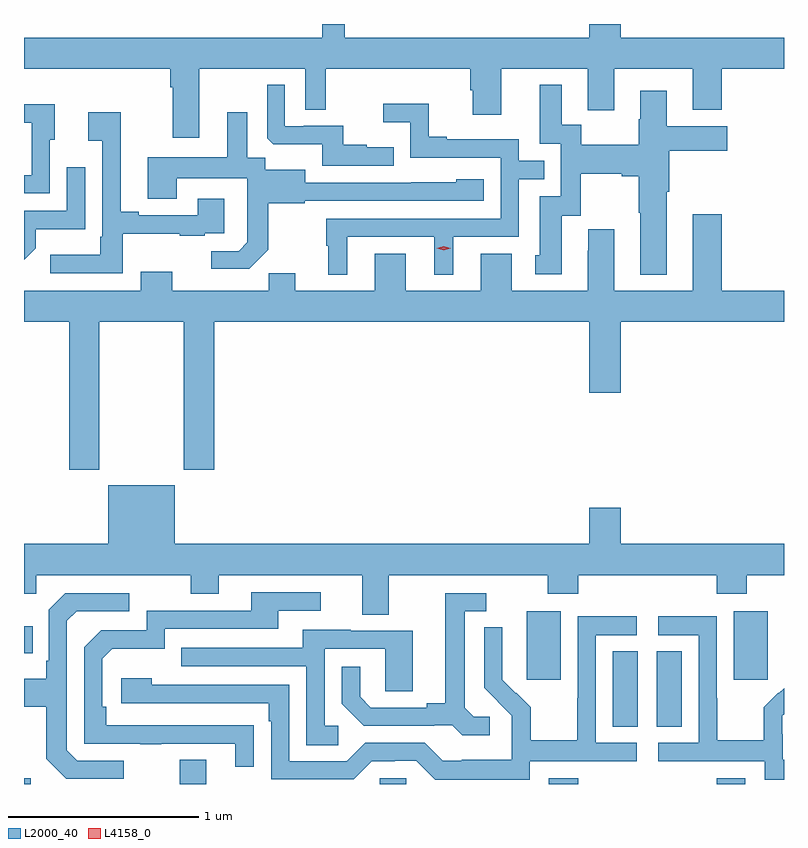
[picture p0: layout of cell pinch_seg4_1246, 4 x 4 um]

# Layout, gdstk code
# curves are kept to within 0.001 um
import gdstk
lib = gdstk.Library(unit=1e-6, precision=1e-09)
def R(c, l, rs):  # rectangles x0, y0, x1, y1
    for r in rs: c.add(gdstk.rectangle(r[:2], r[2:], *l))
def P(c, l, *ps):  # polygons
    for p in ps: c.add(gdstk.Polygon(p, *l))
L2000_40 = (2000, 40)
L4158_0 = (4158, 0)

pinch_seg4_1246 = lib.new_cell('pinch_seg4_1246')
R(pinch_seg4_1246, L2000_40, [(245.948,767.748,245.983,767.779), (246.767,767.748,246.907,767.875), (247.821,767.748,247.959,767.778), (248.711,767.748,248.864,767.779), (249.593,767.748,249.745,767.779), (249.047,768.049,249.178,768.446), (249.278,768.049,249.409,768.446), (248.594,768.297,248.773,768.658), (249.683,768.297,249.862,768.658), (245.948,768.437,245.993,768.577)])
P(pinch_seg4_1246, L2000_40, [(247.636,771.748),(247.519,771.748),(247.519,771.676),(245.948,771.676),(245.948,771.512),(246.719,771.512),(246.719,771.416),(246.731,771.416),(246.731,771.15),(246.871,771.15),(246.871,771.512),(247.428,771.512),(247.428,771.298),(247.537,771.298),(247.537,771.512),(248.297,771.512),(248.297,771.399),(248.309,771.399),(248.309,771.27),(248.461,771.27),(248.461,771.512),(248.915,771.512),(248.915,771.294),(249.055,771.294),(249.055,771.512),(249.467,771.512),(249.467,771.296),(249.62,771.296),(249.62,771.512),(249.948,771.512),(249.948,771.676),(249.088,771.676),(249.088,771.748),(248.924,771.748),(248.924,771.676),(247.636,771.676)],
  [(247.895,771.1),(247.751,771.1),(247.751,771.112),(247.628,771.112),(247.628,771.213),(247.42,771.213),(247.42,771.21),(247.32,771.21),(247.32,771.427),(247.227,771.427),(247.227,771.147),(247.259,771.116),(247.518,771.116),(247.518,771.003),(247.895,771.003)],
  [(249.331,770.864),(249.344,770.864),(249.344,771.082),(249.649,771.082),(249.649,771.211),(249.331,771.211),(249.331,771.397),(249.191,771.397),(249.191,771.246),(249.184,771.246),(249.184,771.112),(248.881,771.112),(248.881,771.218),(248.779,771.218),(248.779,771.427),(248.663,771.427),(248.663,771.117),(248.772,771.117),(248.772,770.841),(248.663,770.841),(248.663,770.532),(248.639,770.532),(248.639,770.43),(248.779,770.43),(248.779,770.738),(248.877,770.738),(248.877,770.96),(249.095,770.96),(249.095,770.948),(249.184,770.948),(249.184,770.755),(249.191,770.755),(249.191,770.429),(249.331,770.429)],
  [(247.648,770.628),(248.108,770.628),(248.108,770.429),(248.206,770.429),(248.206,770.628),(248.553,770.628),(248.553,770.931),(248.687,770.931),(248.687,771.027),(248.553,771.027),(248.553,771.141),(248.173,771.141),(248.173,771.154),(248.079,771.154),(248.079,771.329),(247.839,771.329),(247.839,771.23),(247.98,771.23),(247.98,771.045),(248.457,771.045),(248.457,770.724),(247.539,770.724),(247.539,770.58),(247.55,770.58),(247.55,770.429),(247.648,770.429)],
  [(246.084,771.138),(246.109,771.138),(246.109,771.326),(245.948,771.326),(245.948,771.228),(245.988,771.228),(245.988,770.952),(245.948,770.952),(245.948,770.856),(246.084,770.856)],
  [(247.233,770.559),(247.233,770.805),(247.425,770.805),(247.425,770.817),(248.368,770.817),(248.368,770.932),(248.223,770.932),(248.223,770.914),(247.429,770.913),(247.429,770.98),(247.218,770.98),(247.218,771.044),(247.123,771.044),(247.123,771.283),(247.019,771.283),(247.019,771.046),(246.599,771.046),(246.599,770.827),(246.751,770.827),(246.751,770.936),(247.122,770.936),(247.122,770.695),(247.124,770.695),(247.124,770.6),(247.077,770.553),(246.933,770.553),(246.933,770.459),(247.133,770.459)],
  [(246.469,770.645),(246.767,770.645),(246.767,770.634),(246.899,770.634),(246.899,770.646),(247.003,770.646),(247.003,770.827),(246.863,770.827),(246.863,770.742),(246.553,770.742),(246.553,770.761),(246.457,770.761),(246.457,771.283),(246.285,771.283),(246.285,771.134),(246.36,771.134),(246.36,770.629),(246.348,770.629),(246.348,770.533),(246.087,770.533),(246.087,770.436),(246.469,770.436)],
  [(246.009,770.567),(246.009,770.669),(246.27,770.669),(246.27,770.995),(246.174,770.995),(246.174,770.766),(245.948,770.766),(245.948,770.506)],
  [(246.345,770.18),(246.79,770.18),(246.79,769.401),(246.95,769.401),(246.95,770.18),(248.924,770.18),(248.924,769.806),(249.088,769.806),(249.088,770.18),(249.948,770.18),(249.948,770.344),(249.62,770.344),(249.62,770.746),(249.467,770.746),(249.467,770.344),(249.055,770.344),(249.055,770.668),(248.918,770.668),(248.918,770.555),(248.915,770.555),(248.915,770.344),(248.515,770.344),(248.515,770.539),(248.351,770.539),(248.351,770.344),(247.957,770.344),(247.957,770.539),(247.793,770.539),(247.793,770.344),(247.375,770.344),(247.375,770.435),(247.237,770.435),(247.237,770.344),(246.727,770.344),(246.727,770.443),(246.563,770.443),(246.563,770.344),(245.948,770.344),(245.948,770.18),(246.185,770.18),(246.185,769.401),(246.345,769.401)],
  [(247.867,768.848),(248.704,768.848),(248.704,768.749),(248.864,768.749),(248.864,768.848),(249.593,768.848),(249.593,768.749),(249.753,768.749),(249.753,768.848),(249.948,768.848),(249.948,769.012),(249.088,769.012),(249.088,769.201),(248.924,769.201),(248.924,769.012),(246.742,769.012),(246.742,769.321),(246.392,769.321),(246.392,769.012),(245.948,769.012),(245.948,768.749),(246.012,768.749),(246.012,768.848),(246.826,768.848),(246.826,768.749),(246.973,768.749),(246.973,768.848),(247.727,768.848),(247.727,768.64),(247.867,768.64)],
  [(247.157,768.056),(246.38,768.057),(246.38,768.154),(246.36,768.154),(246.36,768.408),(246.413,768.461),(246.69,768.461),(246.69,768.564),(247.285,768.564),(247.285,768.66),(247.51,768.66),(247.51,768.756),(247.145,768.756),(247.145,768.66),(246.594,768.66),(246.594,768.558),(246.354,768.558),(246.264,768.468),(246.264,767.961),(246.559,767.961),(246.559,767.956),(246.671,767.956),(246.671,767.961),(247.061,767.961),(247.061,767.838),(247.157,767.838)],
  [(248.398,768.102),(248.316,768.102),(248.269,768.149),(248.269,768.657),(248.38,768.657),(248.38,768.753),(248.165,768.753),(248.165,768.173),(248.069,768.173),(248.069,768.15),(247.774,768.15),(247.717,768.207),(247.717,768.364),(247.62,768.364),(247.62,768.17),(247.736,768.054),(248.108,768.054),(248.108,768.057),(248.202,768.057),(248.254,768.005),(248.398,768.005)],
  [(246.472,767.871),(246.228,767.871),(246.174,767.925),(246.174,768.606),(246.225,768.657),(246.502,768.657),(246.502,768.753),(246.165,768.753),(246.078,768.666),(246.078,768.397),(246.066,768.397),(246.066,768.301),(245.948,768.301),(245.948,768.154),(246.066,768.154),(246.066,767.881),(246.171,767.775),(246.472,767.775)],
  [(248.61,767.868),(249.172,767.868),(249.172,767.964),(248.958,767.964),(248.958,768.531),(249.172,768.531),(249.172,768.63),(248.862,768.63),(248.862,768.2),(248.86,768.2),(248.86,767.977),(248.615,767.977),(248.615,768.151),(248.538,768.228),(248.535,768.225),(248.465,768.296),(248.466,768.572),(248.37,768.572),(248.37,768.254),(248.516,768.106),(248.516,768.009),(248.514,768.009),(248.514,767.875),(248.251,767.875),(248.251,767.871),(248.151,767.871),(248.058,767.964),(247.743,767.964),(247.647,767.868),(247.344,767.868),(247.344,768.27),(246.62,768.27),(246.62,768.304),(246.459,768.304),(246.459,768.174),(247.235,768.174),(247.235,768.077),(247.248,768.077),(247.248,767.772),(247.683,767.772),(247.779,767.868),(247.898,767.868),(247.898,767.871),(248.013,767.871),(248.113,767.771),(248.61,767.771)],
  [(249.948,767.875),(249.942,767.875),(249.942,768.009),(249.94,768.009),(249.94,768.106),(249.948,768.114),(249.948,768.252),(249.921,768.225),(249.918,768.228),(249.841,768.151),(249.841,767.977),(249.597,767.977),(249.597,768.2),(249.594,768.2),(249.594,768.63),(249.285,768.63),(249.285,768.531),(249.498,768.531),(249.498,767.964),(249.285,767.964),(249.285,767.868),(249.846,767.868),(249.846,767.771),(249.948,767.771)],
  [(247.603,768.054),(247.53,768.054),(247.53,768.459),(247.848,768.459),(247.848,768.235),(247.993,768.235),(247.993,768.555),(247.669,768.555),(247.669,768.559),(247.415,768.559),(247.415,768.465),(246.775,768.465),(246.775,768.369),(247.434,768.369),(247.434,767.953),(247.603,767.953)])
P(pinch_seg4_1246, L4158_0, [(248.157,770.558),(248.121,770.568),(248.121,770.568),(248.121,770.568),(248.157,770.578),(248.193,770.568),(248.193,770.568),(248.193,770.568)])

lib.write_gds('pinch_seg4_1246.gds')
